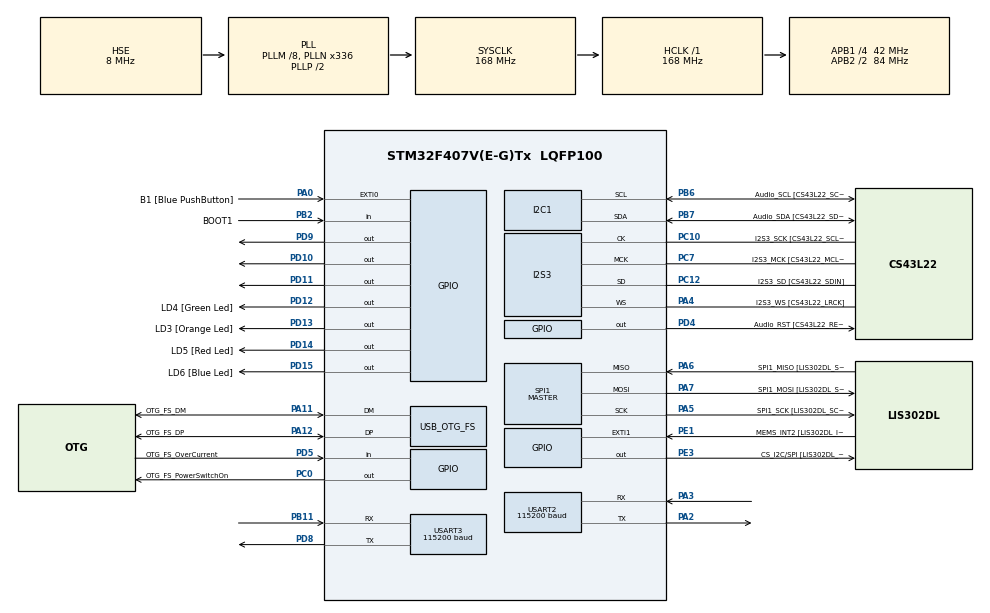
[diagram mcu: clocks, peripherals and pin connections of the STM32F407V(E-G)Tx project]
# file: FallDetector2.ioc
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I2C1.OwnAddress=0
I2S3.AudioFreq-Half_Duplex_Master=I2S_AUDIOFREQ_96K
I2S3.ErrorAudioFreq=-2.34 %
I2S3.ErrorAudioFreq-Half_Duplex_Master=0.8 %
I2S3.FullDuplexMode=I2S_FULLDUPLEXMODE_DISABLE
I2S3.Instance=SPI$Index
I2S3.RealAudioFreq=93.75 KHz
I2S3.RealAudioFreq-Half_Duplex_Master=96.774 KHz
I2S3.VirtualMode=I2S_MODE_MASTER
Mcu.Family=STM32F4
Mcu.Name=STM32F407V(E-G)Tx
Mcu.Package=LQFP100
NVIC.PriorityGroup=NVIC_PRIORITYGROUP_0
PA0-WKUP.GPIO_Label=B1 [Blue PushButton]
PA0-WKUP.GPIO_ModeDefaultEXTI=GPIO_MODE_EVT_RISING
PA0-WKUP.GPIO_PuPd=GPIO_NOPULL
PA0-WKUP.Signal=GPXTI0
PA10.GPIO_Label=OTG_FS_ID
PA10.GPIO_Mode=GPIO_MODE_AF_PP
PA10.GPIO_PuPd=GPIO_NOPULL
PA10.GPIO_Speed=GPIO_SPEED_FREQ_LOW
PA10.Signal=USB_OTG_FS_ID
PA11.GPIO_Label=OTG_FS_DM
PA11.GPIO_Mode=GPIO_MODE_AF_PP
PA11.GPIO_PuPd=GPIO_NOPULL
PA11.GPIO_Speed=GPIO_SPEED_FREQ_LOW
PA11.Mode=Host_Only
PA11.Signal=USB_OTG_FS_DM
PA12.GPIO_Label=OTG_FS_DP
PA12.GPIO_Mode=GPIO_MODE_AF_PP
PA12.GPIO_PuPd=GPIO_NOPULL
PA12.GPIO_Speed=GPIO_SPEED_FREQ_LOW
PA12.Mode=Host_Only
PA12.Signal=USB_OTG_FS_DP
PA13.GPIO_Label=SWDIO
PA13.Mode=Serial_Wire
PA13.Signal=SYS_JTMS-SWDIO
PA14.GPIO_Label=SWCLK
PA14.Mode=Serial_Wire
PA14.Signal=SYS_JTCK-SWCLK
PA2.Mode=Asynchronous
PA2.Signal=USART2_TX
PA3.Mode=Asynchronous
PA3.Signal=USART2_RX
PA4.GPIO_Label=I2S3_WS [CS43L22_LRCK]
PA4.GPIO_Mode=GPIO_MODE_AF_PP
PA4.GPIO_PuPd=GPIO_NOPULL
PA4.GPIO_Speed=GPIO_SPEED_FREQ_LOW
PA4.Mode=Half_Duplex_Master
PA4.Signal=I2S3_WS
PA5.GPIO_Label=SPI1_SCK [LIS302DL_SCL/SPC]
PA5.GPIO_Mode=GPIO_MODE_AF_PP
PA5.GPIO_PuPd=GPIO_NOPULL
PA5.GPIO_Speed=GPIO_SPEED_FREQ_LOW
PA5.Mode=Full_Duplex_Master
PA5.Signal=SPI1_SCK
PA6.GPIO_Label=SPI1_MISO [LIS302DL_SDO]
PA6.GPIO_Mode=GPIO_MODE_AF_PP
PA6.GPIO_PuPd=GPIO_NOPULL
PA6.GPIO_Speed=GPIO_SPEED_FREQ_LOW
PA6.Mode=Full_Duplex_Master
PA6.Signal=SPI1_MISO
PA7.GPIO_Label=SPI1_MOSI [LIS302DL_SDA/SDI/SDO]
PA7.GPIO_Mode=GPIO_MODE_AF_PP
PA7.GPIO_PuPd=GPIO_NOPULL
PA7.GPIO_Speed=GPIO_SPEED_FREQ_LOW
PA7.Mode=Full_Duplex_Master
PA7.Signal=SPI1_MOSI
PA9.GPIO_Label=VBUS_FS
PA9.GPIO_Mode=GPIO_MODE_INPUT
PA9.GPIO_PuPd=GPIO_NOPULL
PA9.Signal=USB_OTG_FS_VBUS
PB10.GPIO_Label=CLK_IN [MP45DT02_CLK]
PB10.GPIO_Mode=GPIO_MODE_AF_PP
PB10.GPIO_PuPd=GPIO_NOPULL
PB10.GPIO_Speed=GPIO_SPEED_FREQ_LOW
PB10.Signal=I2S2_CK
PB11.Mode=Asynchronous
PB11.Signal=USART3_RX
PB2.GPIO_Label=BOOT1
PB2.GPIO_Mode=GPIO_MODE_INPUT
PB2.GPIO_PuPd=GPIO_NOPULL
PB2.Signal=GPIO_Input
PB3.GPIO_Label=SWO
PB3.Signal=SYS_JTDO-SWO
PB6.GPIO_Label=Audio_SCL [CS43L22_SCL]
PB6.GPIO_Mode=GPIO_MODE_AF_OD
PB6.GPIO_PuPd=GPIO_NOPULL
PB6.GPIO_Speed=GPIO_SPEED_FREQ_LOW
PB6.Mode=I2C
PB6.Signal=I2C1_SCL
PB7.GPIO_Label=Audio_SDA [CS43L22_SDA]
PB7.GPIO_Mode=GPIO_MODE_AF_OD
PB7.GPIO_Speed=GPIO_SPEED_FREQ_LOW
PB7.Mode=I2C
PB7.Signal=I2C1_SDA
PC0.GPIO_Label=OTG_FS_PowerSwitchOn
PC0.GPIO_PuPd=GPIO_NOPULL
PC0.GPIO_Speed=GPIO_SPEED_FREQ_LOW
PC0.PinState=GPIO_PIN_SET
PC0.Signal=GPIO_Output
PC10.GPIO_Label=I2S3_SCK [CS43L22_SCLK]
PC10.GPIO_Mode=GPIO_MODE_AF_PP
PC10.GPIO_PuPd=GPIO_NOPULL
PC10.GPIO_Speed=GPIO_SPEED_FREQ_LOW
PC10.Mode=Half_Duplex_Master
PC10.Signal=I2S3_CK
PC12.GPIO_Label=I2S3_SD [CS43L22_SDIN]
PC12.GPIO_Mode=GPIO_MODE_AF_PP
PC12.GPIO_PuPd=GPIO_NOPULL
PC12.GPIO_Speed=GPIO_SPEED_FREQ_LOW
PC12.Mode=Half_Duplex_Master
PC12.Signal=I2S3_SD
PC14-OSC32_IN.GPIO_Label=PC14-OSC32_IN
PC14-OSC32_IN.Mode=LSE-External-Oscillator
PC14-OSC32_IN.Signal=RCC_OSC32_IN
PC15-OSC32_OUT.GPIO_Label=PC15-OSC32_OUT
PC15-OSC32_OUT.Mode=LSE-External-Oscillator
PC15-OSC32_OUT.Signal=RCC_OSC32_OUT
PC3.GPIO_Label=PDM_OUT [MP45DT02_DOUT]
PC3.GPIO_Mode=GPIO_MODE_AF_PP
PC3.GPIO_PuPd=GPIO_NOPULL
PC3.GPIO_Speed=GPIO_SPEED_FREQ_LOW
PC3.Signal=I2S2_SD
PC7.GPIO_Label=I2S3_MCK [CS43L22_MCLK]
PC7.GPIO_Mode=GPIO_MODE_AF_PP
PC7.GPIO_PuPd=GPIO_NOPULL
PC7.GPIO_Speed=GPIO_SPEED_FREQ_LOW
PC7.Mode=Master_Clock_Activated
PC7.Signal=I2S3_MCK
PD10.Signal=GPIO_Output
PD11.Signal=GPIO_Output
PD12.GPIO_Label=LD4 [Green Led]
PD12.GPIO_PuPd=GPIO_NOPULL
PD12.GPIO_Speed=GPIO_SPEED_FREQ_LOW
PD12.Signal=GPIO_Output
PD13.GPIO_Label=LD3 [Orange Led]
PD13.GPIO_PuPd=GPIO_NOPULL
PD13.GPIO_Speed=GPIO_SPEED_FREQ_LOW
PD13.Signal=GPIO_Output
PD14.GPIO_Label=LD5 [Red Led]
PD14.GPIO_PuPd=GPIO_NOPULL
PD14.GPIO_Speed=GPIO_SPEED_FREQ_LOW
PD14.Signal=GPIO_Output
PD15.GPIO_Label=LD6 [Blue Led]
PD15.GPIO_PuPd=GPIO_NOPULL
PD15.GPIO_Speed=GPIO_SPEED_FREQ_LOW
PD15.Signal=GPIO_Output
PD4.GPIO_Label=Audio_RST [CS43L22_RESET]
PD4.GPIO_PuPd=GPIO_NOPULL
PD4.GPIO_Speed=GPIO_SPEED_FREQ_LOW
PD4.Signal=GPIO_Output
PD5.GPIO_Label=OTG_FS_OverCurrent
PD5.GPIO_Mode=GPIO_MODE_INPUT
PD5.GPIO_PuPd=GPIO_NOPULL
PD5.Signal=GPIO_Input
PD8.Mode=Asynchronous
PD8.Signal=USART3_TX
PD9.Signal=GPIO_Output
PE1.GPIO_Label=MEMS_INT2 [LIS302DL_INT2]
PE1.GPIO_ModeDefaultEXTI=GPIO_MODE_EVT_RISING
PE1.GPIO_PuPd=GPIO_NOPULL
PE1.Signal=GPXTI1
PE3.GPIO_Label=CS_I2C/SPI [LIS302DL_CS_I2C/SPI]
PE3.GPIO_PuPd=GPIO_NOPULL
PE3.GPIO_Speed=GPIO_SPEED_FREQ_LOW
PE3.Signal=GPIO_Output
PH0-OSC_IN.GPIO_Label=PH0-OSC_IN
PH0-OSC_IN.Mode=HSE-External-Oscillator
PH0-OSC_IN.Signal=RCC_OSC_IN
PH1-OSC_OUT.GPIO_Label=PH1-OSC_OUT
PH1-OSC_OUT.Mode=HSE-External-Oscillator
PH1-OSC_OUT.Signal=RCC_OSC_OUT
ProjectManager.HeapSize=0x200
ProjectManager.StackSize=0x400
ProjectManager.TargetToolchain=STM32CubeIDE
RCC.48MHZClocksFreq_Value=48000000
RCC.AHBFreq_Value=168000000
RCC.APB1CLKDivider=RCC_HCLK_DIV4
RCC.APB1Freq_Value=42000000
RCC.APB1TimFreq_Value=84000000
RCC.APB2CLKDivider=RCC_HCLK_DIV2
RCC.APB2Freq_Value=84000000
RCC.APB2TimFreq_Value=168000000
RCC.CortexFreq_Value=168000000
RCC.HCLKFreq_Value=168000000
RCC.HSE_VALUE=8000000
RCC.HSI_VALUE=16000000
RCC.PLLM=8
RCC.PLLN=336
RCC.PLLQ=7
RCC.SYSCLKFreq_VALUE=168000000
RCC.SYSCLKSource=RCC_SYSCLKSOURCE_PLLCLK
RCC.VCOOutputFreq_Value=336000000
SPI1.BaudRatePrescaler-Full_Duplex_Master=SPI_BAUDRATEPRESCALER_2
SPI1.CalculateBaudRate-Full_Duplex_Master=42.0 MBits/s
SPI1.Direction=SPI_DIRECTION_2LINES
SPI1.Mode=SPI_MODE_MASTER
SPI1.Mode-Full_Duplex_Master=SPI_MODE_MASTER
SPI1.VirtualType=VM_MASTER
USART2.BaudRate=115200
USART2.VirtualMode=VM_ASYNC
USART3.BaudRate=115200
USART3.VirtualMode=VM_ASYNC
USB_OTG_FS.VirtualMode=Host_Only
USB_OTG_FS.phy_itface=HCD_PHY_EMBEDDED
board=STM32F407G-DISC1

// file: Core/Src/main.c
/* USER CODE BEGIN Header */
/**
 ******************************************************************************
 * @file           : main.c
 * @brief          : Main program body
 ******************************************************************************
 * @attention
 *
 * <h2><center>&copy; Copyright (c) 2019 STMicroelectronics.
 * All rights reserved.</center></h2>
 *
 * This software component is licensed by ST under Ultimate Liberty license
 * SLA0044, the "License"; You may not use this file except in compliance with
 * the License. You may obtain a copy of the License at:
 *                             www.st.com/SLA0044
 *
 ******************************************************************************
 */
/* USER CODE END Header */

#include "main.h"

/* USER CODE BEGIN Includes */
// #include "defines.h"
#include <stdio.h>
#include <stdarg.h>
#include <stdlib.h>

//#define DEV //
#include "mydefines.h"

#include "stm32f4xx_hal_uart.h"
#include "stm32f4xx_hal_i2c.h"
#include "tm_stm32_mpu6050.h"

/* USER CODE END Includes */

I2C_HandleTypeDef hi2c1;

I2S_HandleTypeDef hi2s3;

SPI_HandleTypeDef hspi1;

UART_HandleTypeDef huart2;
UART_HandleTypeDef huart3;

HCD_HandleTypeDef hhcd_USB_OTG_FS;

void SystemClock_Config(void);
static void MX_GPIO_Init(void);
static void MX_I2C1_Init(void);
static void MX_I2S3_Init(void);
static void MX_SPI1_Init(void);
static void MX_USART2_UART_Init(void);
static void MX_USART3_UART_Init(void);
static void MX_USB_OTG_FS_HCD_Init(void);

/* USER CODE BEGIN 0 */
TM_MPU6050_t MPU6050_Sensor;
char buffer[512];
char readBuffer[10];
int gyroConn = 0;
// ========================= BUZZER =============================== //

// connect pin to "S" and GND to "-"

void setBuzzer(int state) {
	HAL_GPIO_WritePin(BUZZER_OUT_PIN, state ? GPIO_PIN_SET : GPIO_PIN_RESET);
}

// ========================== I2C connect ========================= //

int gyroConnected() {
	return TM_I2C_IsDeviceConnected(MPU6050_I2C, 0xD0) == TM_I2C_Result_Ok;
}

void gyroConnect(int maxTry) {
	int tries = 0;
	while (TM_MPU6050_Init(&MPU6050_Sensor, TM_MPU6050_Device_0,
			TM_MPU6050_Accelerometer_8G, TM_MPU6050_Gyroscope_250s)
			!= TM_MPU6050_Result_Ok && tries < maxTry) {
		HAL_Delay(10);
		tries++;
	}
}

void uartPrintf(UART_HandleTypeDef *handle, const char *format, ...) {
	va_list args;
	va_start(args, format);
	int n = sprintf(buffer, format, args);
//	HAL_UART_Transmit(handle, buffer, n, 1000);
	HAL_UART_Transmit(&huart2, buffer, n, 1000);
	HAL_UART_Transmit(&huart3, buffer, n, 1000);
	va_end(args);
}

#include "logic.h"

int enableFallAlarm = 1, enableOutAlarm = 1;
int fallen = 0, outOfRange = 0;
int loopCount = 0;
/* USER CODE END 0 */

int main(void)
{

  /* MCU Configuration--------------------------------------------------------*/

  /* Reset of all peripherals, Initializes the Flash interface and the Systick. */
  HAL_Init();

  /* Configure the system clock */
  SystemClock_Config();

  /* Initialize all configured peripherals */
  MX_GPIO_Init();
  MX_I2C1_Init();
  MX_I2S3_Init();
  MX_SPI1_Init();
  MX_USART2_UART_Init();
  MX_USART3_UART_Init();
  MX_USB_OTG_FS_HCD_Init();
  /* USER CODE BEGIN 2 */
  	float accHistory[5] = {0}, gyroHistory[5] = {0}, _accSum = 0, _gyroSum = 0;
  	int _aIdx = 0, _gIdx = 0;
	float ax, ay, az, aMag, gx, gy, gz, gMag, accMult, gyroMult, length;
	int outAlarmOn = 0, fallAlarmOn = 0;
	int fallingNow = 0, gyroConn, n;
	uartPrintf(NODEMCU_HANDLE, "t");
	gyroConnect(1000);

  /* USER CODE END 2 */

  /* Infinite loop */
	while (1) {

    /* USER CODE BEGIN 3 */

		HAL_Delay(10);
		loopCount = (loopCount+1)%100;
		if (loopCount == 0) {
			uartPrintf(NODEMCU_HANDLE, "t");
		}

		if (!(gyroConn = gyroConnected())) {
			gyroConnect(100);
			HAL_Delay(500);
		}

		uartPrintf(NODEMCU_HANDLE, gyroConnected() ? "e": "E");

		if (gyroConn) { // why did connected always return 0 ?
			TM_MPU6050_ReadAll(&MPU6050_Sensor);
			accMult = (float) 1 / ((1 << 16) / 16) * 9.81; // +-8G
			gyroMult = (float) 1 / ((1 << 16) / 500); // +-250
//			accMult = (float) 1 / ((1 << 16) / 5) * 9.81; // +-8G
//			gyroMult = (float) 1 / ((1 << 16) / 20); // +-250

			ax = MPU6050_Sensor.Accelerometer_X * accMult;
			ay = MPU6050_Sensor.Accelerometer_Y * accMult;
			az = MPU6050_Sensor.Accelerometer_Z * accMult;
			aMag = ax * ax + ay * ay + az * az;

			gx = MPU6050_Sensor.Gyroscope_X * gyroMult;
			gy = MPU6050_Sensor.Gyroscope_Y * gyroMult;
			gz = MPU6050_Sensor.Gyroscope_Z * gyroMult;
			gMag = gx * gx + gy * gy + gz * gz;

			if(aMag == 0 && gMag==0){
				HAL_GPIO_WritePin(GYRO_STATUS_LED_PIN, GPIO_PIN_SET);
			}else{
				HAL_GPIO_WritePin(GYRO_STATUS_LED_PIN, GPIO_PIN_RESET);
			}

			/* Send the data to serial buffer */
#ifdef DEV
//		 n =
//					sprintf(buffer,
//							"A (%5.2f %5.2f %5.2f = %7.2f) G (%7.2f %7.2f %7.2f = %.2f)\r\n",
//							ax, ay, az, aMag, gx, gy, gz, gMag);
//			//	uartPrintf(RED_BOARD_HANDLE, "A (%5.2f %5.2f %5.2f = %7.2f) G (%7.2f %7.2f %7.2f = %.2f)\r\n", ax, ay, az, aMag, gx, gy, gz, gMag);
//			HAL_UART_Transmit(RED_BOARD_HANDLE, buffer, n, 100);
#endif

			_accSum -= accHistory[_aIdx];
			_gyroSum -= gyroHistory[_gIdx];
			_accSum += (accHistory[_aIdx] = aMag);
			_gyroSum += (gyroHistory[_gIdx] = gMag);

			if (_accSum/5 > 70 && _accSum/5<500 && _gyroSum/5 > 36000 && _gyroSum/5 < 49000) {

				if(_accSum/5 > 90 && _accSum/5<190 && _gyroSum/5 > 40000 ){
					//run
				}else{
					n =
										sprintf(buffer,
												"------------- A/5 (%.2f) G/5 (%.2f)\r\n",
												_accSum/5, _gyroSum/5);
					HAL_UART_Transmit(RED_BOARD_HANDLE, buffer, n, 100);
					fallen = 1;
					for(int i=0;i<5;i++){
						_accSum=0;
						_gyroSum=0;
						accHistory[i]=0;
						gyroHistory[i]=0;
					}
				}

			}
			n =
								sprintf(buffer,
										"------------- A/5 (%.2f) G/5 (%.2f)\r\n",
										_accSum/5, _gyroSum/5);
			HAL_UART_Transmit(RED_BOARD_HANDLE, buffer, n, 100);

			if (accHistory[_aIdx] > 300 || gyroHistory[_gIdx] > 20000) {
				HAL_GPIO_WritePin(FALL_STATUS_LED_PIN, GPIO_PIN_SET);
			} else {
				HAL_GPIO_WritePin(FALL_STATUS_LED_PIN, GPIO_PIN_RESET);
			}
			_aIdx++;
			_aIdx %= 5;
			_gIdx++;
			_gIdx %= 5;

		}

		// listen command
//		length = HAL_UART_Receive(&huart2, readBuffer, 1, 10);
		length = readMessage(NODEMCU_HANDLE, readBuffer, 1);
		if (length > 0) {
			uartPrintf(RED_BOARD_HANDLE, "read:%c\n" ,readBuffer[0]);
			switch (readBuffer[0]) {
			case 'R':
				fallen = 0;
				break;
			case 'r':
				outOfRange = 0;
				break;
			case 'F':
				enableFallAlarm = 1;
				break;
			case 'f':
				enableFallAlarm = 0;
				break;
			case 'O':
				enableOutAlarm = 1;
				break;
			case 'o':
				enableOutAlarm = 0;
				break;
			case 'X':
				outOfRange = 1;
				break;
			case 'x':
				outOfRange = 0;
				break;
			}
			enableOutAlarm == 1?
					HAL_GPIO_WritePin(GPIOD, GPIO_PIN_10, GPIO_PIN_SET):
					HAL_GPIO_WritePin(GPIOD, GPIO_PIN_10, GPIO_PIN_RESET);
			HAL_GPIO_WritePin(COMMAND_RECV_LED_PIN, GPIO_PIN_SET);
		} else {
			HAL_GPIO_WritePin(COMMAND_RECV_LED_PIN, GPIO_PIN_RESET);
		}

		// alarm logic
		outAlarmOn = outOfRange && enableOutAlarm;
		fallAlarmOn = fallen && enableFallAlarm;
		if (outAlarmOn || fallAlarmOn) {
			setBuzzer(1);
		} else {
			setBuzzer(0);
		}

		HAL_GPIO_WritePin(OUT_ENABLE_LED_PIN,
				enableOutAlarm ? GPIO_PIN_SET : GPIO_PIN_RESET);
		HAL_GPIO_WritePin(FALL_ENABLE_LED_PIN,
				enableFallAlarm ? GPIO_PIN_SET : GPIO_PIN_RESET);
		HAL_GPIO_WritePin(OUT_STATUS_LED_PIN,
				outOfRange ? GPIO_PIN_SET : GPIO_PIN_RESET);
		HAL_GPIO_WritePin(FALL_STATUS_LED_PIN,
				fallen ? GPIO_PIN_SET : GPIO_PIN_RESET);
		HAL_GPIO_WritePin(GYRO_STATUS_LED_PIN, gyroConn ? GPIO_PIN_RESET : GPIO_PIN_SET);

#ifdef DEV
		if (fallAlarmOn) {
			uartPrintf(RED_BOARD_HANDLE, "F");
		} else if (fallingNow) {
			uartPrintf(RED_BOARD_HANDLE, "-");
		} else {
			uartPrintf(RED_BOARD_HANDLE, ".");
		}

#else
//	if (fallAlarmOn){
//		uartPrintf(NODEMCU_HANDLE, "F");
//	}
//	else {
//		uartPrintf(NODEMCU_HANDLE, "f");
//	}
#endif

	if (fallAlarmOn){
		uartPrintf(NODEMCU_HANDLE, "F");
	}
	else {
		uartPrintf(NODEMCU_HANDLE, "f");
	}

	if(enableFallAlarm) {
		uartPrintf(NODEMCU_HANDLE, "S");
	}else if(!enableFallAlarm){
		uartPrintf(NODEMCU_HANDLE, "s");
	}
	if(enableOutAlarm) {
			uartPrintf(NODEMCU_HANDLE, "U");
		}else if(!enableOutAlarm){
			uartPrintf(NODEMCU_HANDLE, "u");
	}

	}
  /* USER CODE END 3 */
}

void SystemClock_Config(void)
{
  RCC_OscInitTypeDef RCC_OscInitStruct = {0};
  RCC_ClkInitTypeDef RCC_ClkInitStruct = {0};
  RCC_PeriphCLKInitTypeDef PeriphClkInitStruct = {0};

  /** Configure the main internal regulator output voltage
  */
  __HAL_RCC_PWR_CLK_ENABLE();
  __HAL_PWR_VOLTAGESCALING_CONFIG(PWR_REGULATOR_VOLTAGE_SCALE1);
  /** Initializes the CPU, AHB and APB busses clocks
  */
  RCC_OscInitStruct.OscillatorType = RCC_OSCILLATORTYPE_HSE;
  RCC_OscInitStruct.HSEState = RCC_HSE_ON;
  RCC_OscInitStruct.PLL.PLLState = RCC_PLL_ON;
  RCC_OscInitStruct.PLL.PLLSource = RCC_PLLSOURCE_HSE;
  RCC_OscInitStruct.PLL.PLLM = 8;
  RCC_OscInitStruct.PLL.PLLN = 336;
  RCC_OscInitStruct.PLL.PLLP = RCC_PLLP_DIV2;
  RCC_OscInitStruct.PLL.PLLQ = 7;
  if (HAL_RCC_OscConfig(&RCC_OscInitStruct) != HAL_OK)
  {
    Error_Handler();
  }
  /** Initializes the CPU, AHB and APB busses clocks
  */
  RCC_ClkInitStruct.ClockType = RCC_CLOCKTYPE_HCLK|RCC_CLOCKTYPE_SYSCLK
                              |RCC_CLOCKTYPE_PCLK1|RCC_CLOCKTYPE_PCLK2;
  RCC_ClkInitStruct.SYSCLKSource = RCC_SYSCLKSOURCE_PLLCLK;
  RCC_ClkInitStruct.AHBCLKDivider = RCC_SYSCLK_DIV1;
  RCC_ClkInitStruct.APB1CLKDivider = RCC_HCLK_DIV4;
  RCC_ClkInitStruct.APB2CLKDivider = RCC_HCLK_DIV2;

  if (HAL_RCC_ClockConfig(&RCC_ClkInitStruct, FLASH_LATENCY_5) != HAL_OK)
  {
    Error_Handler();
  }
  PeriphClkInitStruct.PeriphClockSelection = RCC_PERIPHCLK_I2S;
  PeriphClkInitStruct.PLLI2S.PLLI2SN = 192;
  PeriphClkInitStruct.PLLI2S.PLLI2SR = 2;
  if (HAL_RCCEx_PeriphCLKConfig(&PeriphClkInitStruct) != HAL_OK)
  {
    Error_Handler();
  }
}

static void MX_I2C1_Init(void)
{

  hi2c1.Instance = I2C1;
  hi2c1.Init.ClockSpeed = 100000;
  hi2c1.Init.DutyCycle = I2C_DUTYCYCLE_2;
  hi2c1.Init.OwnAddress1 = 0;
  hi2c1.Init.AddressingMode = I2C_ADDRESSINGMODE_7BIT;
  hi2c1.Init.DualAddressMode = I2C_DUALADDRESS_DISABLE;
  hi2c1.Init.OwnAddress2 = 0;
  hi2c1.Init.GeneralCallMode = I2C_GENERALCALL_DISABLE;
  hi2c1.Init.NoStretchMode = I2C_NOSTRETCH_DISABLE;
  if (HAL_I2C_Init(&hi2c1) != HAL_OK)
  {
    Error_Handler();
  }

}

static void MX_I2S3_Init(void)
{

  hi2s3.Instance = SPI3;
  hi2s3.Init.Mode = I2S_MODE_MASTER_TX;
  hi2s3.Init.Standard = I2S_STANDARD_PHILIPS;
  hi2s3.Init.DataFormat = I2S_DATAFORMAT_16B;
  hi2s3.Init.MCLKOutput = I2S_MCLKOUTPUT_ENABLE;
  hi2s3.Init.AudioFreq = I2S_AUDIOFREQ_96K;
  hi2s3.Init.CPOL = I2S_CPOL_LOW;
  hi2s3.Init.ClockSource = I2S_CLOCK_PLL;
  hi2s3.Init.FullDuplexMode = I2S_FULLDUPLEXMODE_DISABLE;
  if (HAL_I2S_Init(&hi2s3) != HAL_OK)
  {
    Error_Handler();
  }

}

static void MX_SPI1_Init(void)
{

  /* SPI1 parameter configuration*/
  hspi1.Instance = SPI1;
  hspi1.Init.Mode = SPI_MODE_MASTER;
  hspi1.Init.Direction = SPI_DIRECTION_2LINES;
  hspi1.Init.DataSize = SPI_DATASIZE_8BIT;
  hspi1.Init.CLKPolarity = SPI_POLARITY_LOW;
  hspi1.Init.CLKPhase = SPI_PHASE_1EDGE;
  hspi1.Init.NSS = SPI_NSS_SOFT;
  hspi1.Init.BaudRatePrescaler = SPI_BAUDRATEPRESCALER_2;
  hspi1.Init.FirstBit = SPI_FIRSTBIT_MSB;
  hspi1.Init.TIMode = SPI_TIMODE_DISABLE;
  hspi1.Init.CRCCalculation = SPI_CRCCALCULATION_DISABLE;
  hspi1.Init.CRCPolynomial = 10;
  if (HAL_SPI_Init(&hspi1) != HAL_OK)
  {
    Error_Handler();
  }

}

static void MX_USART2_UART_Init(void)
{

  huart2.Instance = USART2;
  huart2.Init.BaudRate = 115200;
  huart2.Init.WordLength = UART_WORDLENGTH_8B;
  huart2.Init.StopBits = UART_STOPBITS_1;
  huart2.Init.Parity = UART_PARITY_NONE;
  huart2.Init.Mode = UART_MODE_TX_RX;
  huart2.Init.HwFlowCtl = UART_HWCONTROL_NONE;
  huart2.Init.OverSampling = UART_OVERSAMPLING_16;
  if (HAL_UART_Init(&huart2) != HAL_OK)
  {
    Error_Handler();
  }

}

static void MX_USART3_UART_Init(void)
{

  huart3.Instance = USART3;
  huart3.Init.BaudRate = 115200;
  huart3.Init.WordLength = UART_WORDLENGTH_8B;
  huart3.Init.StopBits = UART_STOPBITS_1;
  huart3.Init.Parity = UART_PARITY_NONE;
  huart3.Init.Mode = UART_MODE_TX_RX;
  huart3.Init.HwFlowCtl = UART_HWCONTROL_NONE;
  huart3.Init.OverSampling = UART_OVERSAMPLING_16;
  if (HAL_UART_Init(&huart3) != HAL_OK)
  {
    Error_Handler();
  }

}

static void MX_USB_OTG_FS_HCD_Init(void)
{

  hhcd_USB_OTG_FS.Instance = USB_OTG_FS;
  hhcd_USB_OTG_FS.Init.Host_channels = 8;
  hhcd_USB_OTG_FS.Init.speed = HCD_SPEED_FULL;
  hhcd_USB_OTG_FS.Init.dma_enable = DISABLE;
  hhcd_USB_OTG_FS.Init.phy_itface = HCD_PHY_EMBEDDED;
  hhcd_USB_OTG_FS.Init.Sof_enable = DISABLE;
  if (HAL_HCD_Init(&hhcd_USB_OTG_FS) != HAL_OK)
  {
    Error_Handler();
  }

}

static void MX_GPIO_Init(void)
{
  GPIO_InitTypeDef GPIO_InitStruct = {0};

  /* GPIO Ports Clock Enable */
  __HAL_RCC_GPIOE_CLK_ENABLE();
  __HAL_RCC_GPIOC_CLK_ENABLE();
  __HAL_RCC_GPIOH_CLK_ENABLE();
  __HAL_RCC_GPIOA_CLK_ENABLE();
  __HAL_RCC_GPIOB_CLK_ENABLE();
  __HAL_RCC_GPIOD_CLK_ENABLE();

  /*Configure GPIO pin Output Level */
  HAL_GPIO_WritePin(CS_I2C_SPI_GPIO_Port, CS_I2C_SPI_Pin, GPIO_PIN_RESET);

  /*Configure GPIO pin Output Level */
  HAL_GPIO_WritePin(OTG_FS_PowerSwitchOn_GPIO_Port, OTG_FS_PowerSwitchOn_Pin, GPIO_PIN_SET);

  /*Configure GPIO pin Output Level */
  HAL_GPIO_WritePin(GPIOD, GPIO_PIN_9|GPIO_PIN_10|GPIO_PIN_11|LD4_Pin
                          |LD3_Pin|LD5_Pin|LD6_Pin|Audio_RST_Pin, GPIO_PIN_RESET);

  /*Configure GPIO pin : CS_I2C_SPI_Pin */
  GPIO_InitStruct.Pin = CS_I2C_SPI_Pin;
  GPIO_InitStruct.Mode = GPIO_MODE_OUTPUT_PP;
  GPIO_InitStruct.Pull = GPIO_NOPULL;
  GPIO_InitStruct.Speed = GPIO_SPEED_FREQ_LOW;
  HAL_GPIO_Init(CS_I2C_SPI_GPIO_Port, &GPIO_InitStruct);

  /*Configure GPIO pin : OTG_FS_PowerSwitchOn_Pin */
  GPIO_InitStruct.Pin = OTG_FS_PowerSwitchOn_Pin;
  GPIO_InitStruct.Mode = GPIO_MODE_OUTPUT_PP;
  GPIO_InitStruct.Pull = GPIO_NOPULL;
  GPIO_InitStruct.Speed = GPIO_SPEED_FREQ_LOW;
  HAL_GPIO_Init(OTG_FS_PowerSwitchOn_GPIO_Port, &GPIO_InitStruct);

  /*Configure GPIO pin : PDM_OUT_Pin */
  GPIO_InitStruct.Pin = PDM_OUT_Pin;
  GPIO_InitStruct.Mode = GPIO_MODE_AF_PP;
  GPIO_InitStruct.Pull = GPIO_NOPULL;
  GPIO_InitStruct.Speed = GPIO_SPEED_FREQ_LOW;
  GPIO_InitStruct.Alternate = GPIO_AF5_SPI2;
  HAL_GPIO_Init(PDM_OUT_GPIO_Port, &GPIO_InitStruct);

  /*Configure GPIO pin : B1_Pin */
  GPIO_InitStruct.Pin = B1_Pin;
  GPIO_InitStruct.Mode = GPIO_MODE_EVT_RISING;
  GPIO_InitStruct.Pull = GPIO_NOPULL;
  HAL_GPIO_Init(B1_GPIO_Port, &GPIO_InitStruct);

  /*Configure GPIO pin : BOOT1_Pin */
  GPIO_InitStruct.Pin = BOOT1_Pin;
  GPIO_InitStruct.Mode = GPIO_MODE_INPUT;
  GPIO_InitStruct.Pull = GPIO_NOPULL;
  HAL_GPIO_Init(BOOT1_GPIO_Port, &GPIO_InitStruct);

  /*Configure GPIO pin : CLK_IN_Pin */
  GPIO_InitStruct.Pin = CLK_IN_Pin;
  GPIO_InitStruct.Mode = GPIO_MODE_AF_PP;
  GPIO_InitStruct.Pull = GPIO_NOPULL;
  GPIO_InitStruct.Speed = GPIO_SPEED_FREQ_LOW;
  GPIO_InitStruct.Alternate = GPIO_AF5_SPI2;
  HAL_GPIO_Init(CLK_IN_GPIO_Port, &GPIO_InitStruct);

  /*Configure GPIO pins : PD9 PD10 PD11 LD4_Pin
                           LD3_Pin LD5_Pin LD6_Pin Audio_RST_Pin */
  GPIO_InitStruct.Pin = GPIO_PIN_9|GPIO_PIN_10|GPIO_PIN_11|LD4_Pin
                          |LD3_Pin|LD5_Pin|LD6_Pin|Audio_RST_Pin;
  GPIO_InitStruct.Mode = GPIO_MODE_OUTPUT_PP;
  GPIO_InitStruct.Pull = GPIO_NOPULL;
  GPIO_InitStruct.Speed = GPIO_SPEED_FREQ_LOW;
  HAL_GPIO_Init(GPIOD, &GPIO_InitStruct);

  /*Configure GPIO pin : OTG_FS_OverCurrent_Pin */
  GPIO_InitStruct.Pin = OTG_FS_OverCurrent_Pin;
  GPIO_InitStruct.Mode = GPIO_MODE_INPUT;
  GPIO_InitStruct.Pull = GPIO_NOPULL;
  HAL_GPIO_Init(OTG_FS_OverCurrent_GPIO_Port, &GPIO_InitStruct);

  /*Configure GPIO pin : MEMS_INT2_Pin */
  GPIO_InitStruct.Pin = MEMS_INT2_Pin;
  GPIO_InitStruct.Mode = GPIO_MODE_EVT_RISING;
  GPIO_InitStruct.Pull = GPIO_NOPULL;
  HAL_GPIO_Init(MEMS_INT2_GPIO_Port, &GPIO_InitStruct);

}

void Error_Handler(void)
{
}

/************************ (C) COPYRIGHT STMicroelectronics *****END OF FILE****/
